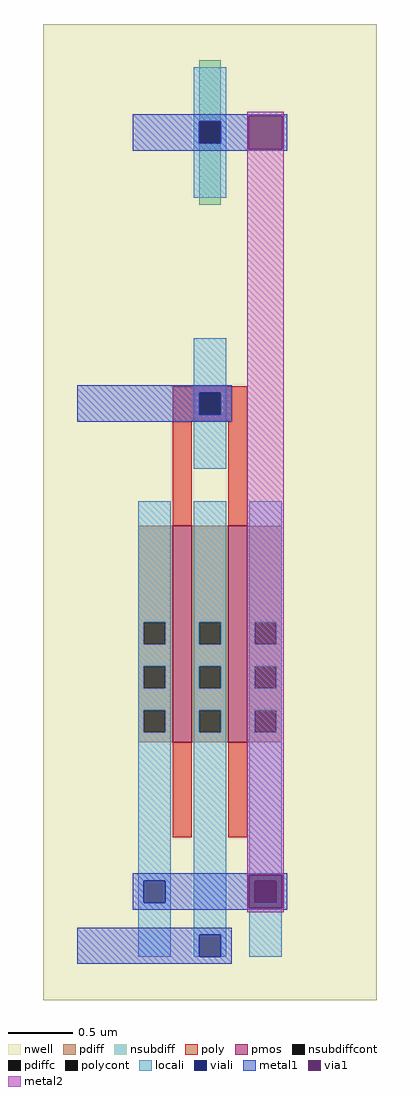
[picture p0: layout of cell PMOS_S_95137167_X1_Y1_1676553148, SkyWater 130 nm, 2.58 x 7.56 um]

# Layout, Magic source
magic
tech sky130A
magscale 1 2
<< nwell >>
rect 0 0 516 1512
<< pmos >>
rect 200 399 230 735
rect 286 399 316 735
<< pdiff >>
rect 147 585 200 735
rect 147 551 155 585
rect 189 551 200 585
rect 147 517 200 551
rect 147 483 155 517
rect 189 483 200 517
rect 147 449 200 483
rect 147 415 155 449
rect 189 415 200 449
rect 147 399 200 415
rect 230 585 286 735
rect 230 551 241 585
rect 275 551 286 585
rect 230 517 286 551
rect 230 483 241 517
rect 275 483 286 517
rect 230 449 286 483
rect 230 415 241 449
rect 275 415 286 449
rect 230 399 286 415
rect 316 585 369 735
rect 316 551 327 585
rect 361 551 369 585
rect 316 517 369 551
rect 316 483 327 517
rect 361 483 369 517
rect 316 449 369 483
rect 316 415 327 449
rect 361 415 369 449
rect 316 399 369 415
<< pdiffc >>
rect 155 551 189 585
rect 155 483 189 517
rect 155 415 189 449
rect 241 551 275 585
rect 241 483 275 517
rect 241 415 275 449
rect 327 551 361 585
rect 327 483 361 517
rect 327 415 361 449
<< nsubdiff >>
rect 241 1361 275 1456
rect 241 1232 275 1327
<< nsubdiffcont >>
rect 241 1327 275 1361
<< poly >>
rect 200 941 316 951
rect 200 907 241 941
rect 275 907 316 941
rect 200 897 316 907
rect 200 735 230 897
rect 286 735 316 897
rect 200 252 230 399
rect 286 252 316 399
<< polycont >>
rect 241 907 275 941
<< locali >>
rect 233 1361 283 1445
rect 233 1327 241 1361
rect 275 1327 283 1361
rect 233 1243 283 1327
rect 233 941 283 1025
rect 233 907 241 941
rect 275 907 283 941
rect 233 823 283 907
rect 147 585 197 773
rect 147 551 155 585
rect 189 551 197 585
rect 147 517 197 551
rect 147 483 155 517
rect 189 483 197 517
rect 147 449 197 483
rect 147 415 155 449
rect 189 415 197 449
rect 147 185 197 415
rect 147 151 155 185
rect 189 151 197 185
rect 147 67 197 151
rect 233 585 283 773
rect 233 551 241 585
rect 275 551 283 585
rect 233 517 283 551
rect 233 483 241 517
rect 275 483 283 517
rect 233 449 283 483
rect 233 415 241 449
rect 275 415 283 449
rect 233 101 283 415
rect 233 67 241 101
rect 275 67 283 101
rect 319 585 369 773
rect 319 551 327 585
rect 361 551 369 585
rect 319 517 369 551
rect 319 483 327 517
rect 361 483 369 517
rect 319 449 369 483
rect 319 415 327 449
rect 361 415 369 449
rect 319 185 369 415
rect 319 151 327 185
rect 361 151 369 185
rect 319 67 369 151
<< viali >>
rect 241 1327 275 1361
rect 241 907 275 941
rect 155 151 189 185
rect 241 67 275 101
rect 327 151 361 185
<< metal1 >>
rect 138 1370 378 1372
rect 138 1361 318 1370
rect 138 1327 241 1361
rect 275 1327 318 1361
rect 138 1318 318 1327
rect 370 1318 378 1370
rect 138 1316 378 1318
rect 52 941 292 952
rect 52 907 241 941
rect 275 907 292 941
rect 52 896 292 907
rect 138 194 378 196
rect 138 185 318 194
rect 138 151 155 185
rect 189 151 318 185
rect 138 142 318 151
rect 370 142 378 194
rect 138 140 378 142
rect 52 101 292 112
rect 52 67 241 101
rect 275 67 292 101
rect 52 56 292 67
<< via1 >>
rect 318 1318 370 1370
rect 318 185 370 194
rect 318 151 327 185
rect 327 151 361 185
rect 361 151 370 185
rect 318 142 370 151
<< metal2 >>
rect 316 1370 372 1376
rect 316 1318 318 1370
rect 370 1318 372 1370
rect 316 194 372 1318
rect 316 142 318 194
rect 370 142 372 194
rect 316 136 372 142
<< end >>
